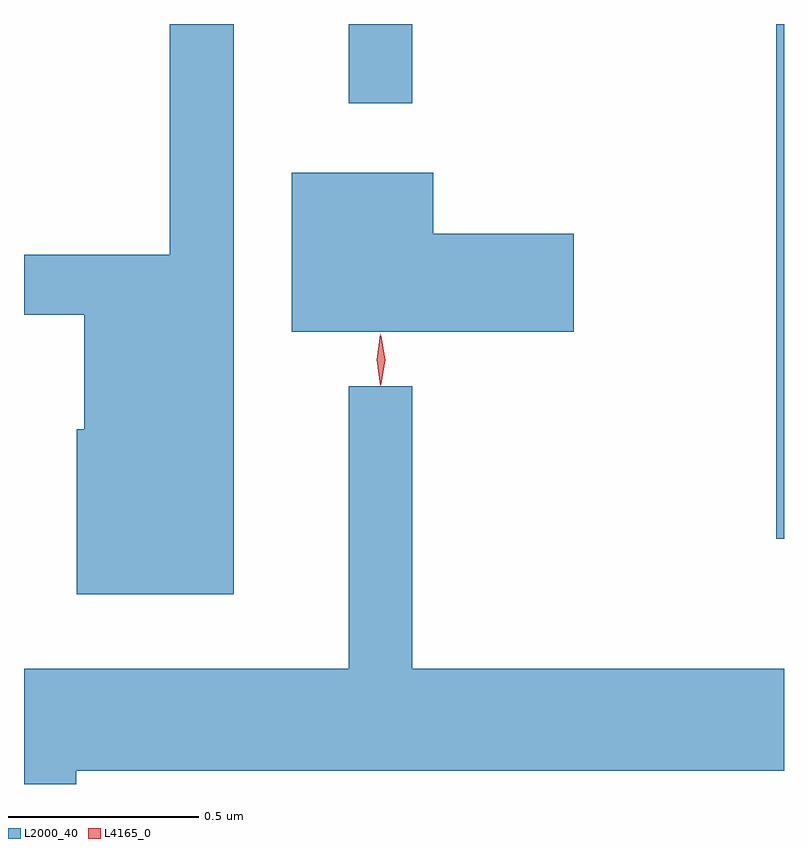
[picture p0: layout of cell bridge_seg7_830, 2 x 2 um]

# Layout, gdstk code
import gdstk
lib = gdstk.Library(unit=1e-6, precision=1e-09)
def R(c, l, rs):  # rectangles x0, y0, x1, y1
    for r in rs: c.add(gdstk.rectangle(r[:2], r[2:], *l))
def P(c, l, *ps):  # polygons
    for p in ps: c.add(gdstk.Polygon(p, *l))
L2000_40 = (2000, 40)
L4165_0 = (4165, 0)

bridge_seg7_830 = lib.new_cell('bridge_seg7_830')
R(bridge_seg7_830, L2000_40, [(380.306,1785.966,380.327,1787.321), (379.181,1787.113,379.349,1787.321)])
P(bridge_seg7_830, L2000_40, [(378.879,1787.321),(378.711,1787.321),(378.711,1786.714),(378.327,1786.714),(378.327,1786.556),(378.486,1786.556),(378.486,1786.254),(378.466,1786.254),(378.466,1785.821),(378.879,1785.821)],
  [(379.774,1786.769),(379.404,1786.769),(379.404,1786.929),(379.031,1786.929),(379.031,1786.511),(379.774,1786.511)],
  [(378.464,1785.356),(380.327,1785.356),(380.327,1785.624),(379.349,1785.624),(379.349,1786.368),(379.181,1786.368),(379.181,1785.624),(378.327,1785.624),(378.327,1785.321),(378.464,1785.321)])
P(bridge_seg7_830, L4165_0, [(379.267,1786.373),(379.266,1786.374),(379.257,1786.436),(379.266,1786.5),(379.267,1786.5),(379.267,1786.5),(379.277,1786.436),(379.267,1786.374)],
  [(379.264,1786.37),(379.255,1786.438),(379.264,1786.505),(379.264,1786.506),(379.265,1786.505),(379.274,1786.438),(379.266,1786.37),(379.265,1786.37)])

lib.write_gds('bridge_seg7_830.gds')
